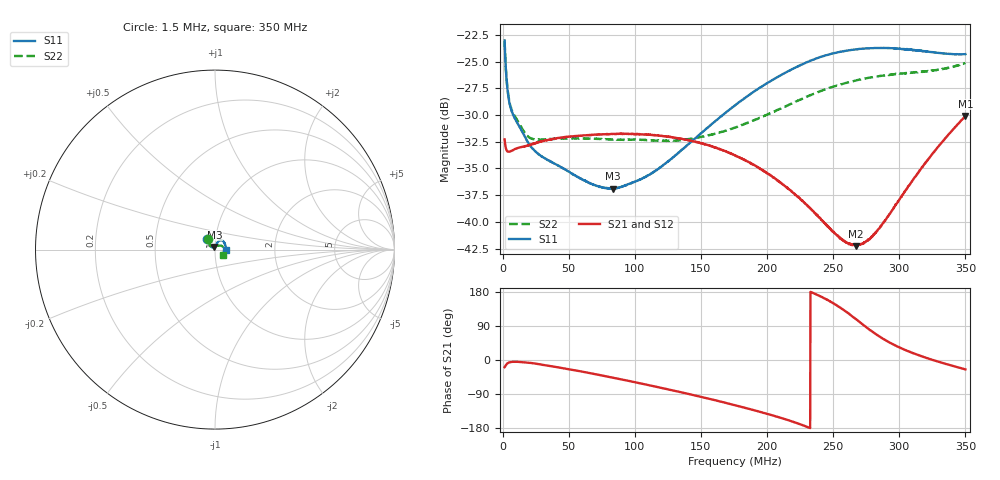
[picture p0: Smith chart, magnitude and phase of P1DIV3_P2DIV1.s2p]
# Hz S RI R 50
! RAW DATA - UNCALIBRATED
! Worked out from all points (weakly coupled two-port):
!   1601 points, 1.5 MHz to 350 MHz, reference 50 ohm
!   highest |S21| = -30.09 dB at 350 MHz (marker M1); lowest = -42.3 dB at 267.4 MHz (marker M2)
!   lowest |S11| = -36.9 dB at 83.18 MHz (marker M3), VSWR 1.03, Z = 49.7 + j1.39 ohm
!   |S11| at or under -10 dB: start of sweep to end of sweep
!   |S22| runs from -32.4 to -23.1 dB; largest |S21 - S12| = 0.0015
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1500000  -0.0428 0.0563  0.023 -0.00795  0.023 -0.00832  -0.0409 0.0572
4113750  -0.0296 0.0262  0.0211 -0.00284  0.0212 -0.00308  -0.0291 0.0275
6291875  -0.0271 0.0202  0.0214 -0.002  0.0213 -0.00215  -0.0265 0.0218
9123438  -0.0252 0.0173  0.0218 -0.00175  0.0215 -0.00175  -0.0245 0.0195
1.827156e7  -0.0192 0.0145  0.0225 -0.00257  0.0225 -0.00261  -0.0184 0.0175
2.872656e7  -0.0162 0.0125  0.0232 -0.00485  0.023 -0.00481  -0.0163 0.0181
5.965594e7  -0.00869 0.0133  0.0219 -0.0128  0.0219 -0.0127  -0.00809 0.0232
7.185344e7  -0.00559 0.0136  0.02 -0.016  0.0201 -0.0158  -0.00471 0.024
8.317969e7  -0.00313 0.0139  0.0178 -0.0187  0.0178 -0.0185  -0.00206 0.0242
1.034362e8  0.000787 0.0157  0.0124 -0.0225  0.0127 -0.0222  0.00245 0.0241
1.178119e8  0.00295 0.0175  0.00785 -0.0242  0.00822 -0.0238  0.00536 0.0235
1.465631e8  0.00631 0.0241  -0.00179 -0.0235  -0.00129 -0.0236  0.0105 0.0224
1.7575e8  0.0104 0.0335  -0.01 -0.0178  -0.00954 -0.0181  0.0166 0.022
2.062438e8  0.0169 0.0439  -0.0136 -0.00833  -0.0133 -0.00875  0.0244 0.0223
2.339059e8  0.0253 0.0513  -0.0113 0.00036  -0.0114 -5.72e-06  0.0327 0.022
2.565584e8  0.0341 0.0527  -0.00585 0.0058  -0.00608 0.00566  0.0397 0.0194
2.674491e8  0.0384 0.0516  -0.00229 0.00735  -0.00256 0.00735  0.0427 0.0171
2.726766e8  0.0404 0.0506  -0.000357 0.00795  -0.000758 0.00788  0.0439 0.0158
2.794288e8  0.043 0.0489  0.00216 0.00828  0.00184 0.00828  0.0455 0.0139
2.920619e8  0.0478 0.0443  0.00726 0.00788  0.00696 0.00816  0.0477 0.00913
3.210309e8  0.057 0.026  0.0192 0.00168  0.0191 0.00258  0.0503 -0.00661
3.5e8  0.0609 -0.00326  0.0284 -0.0131  0.029 -0.0118  0.0466 -0.0302
